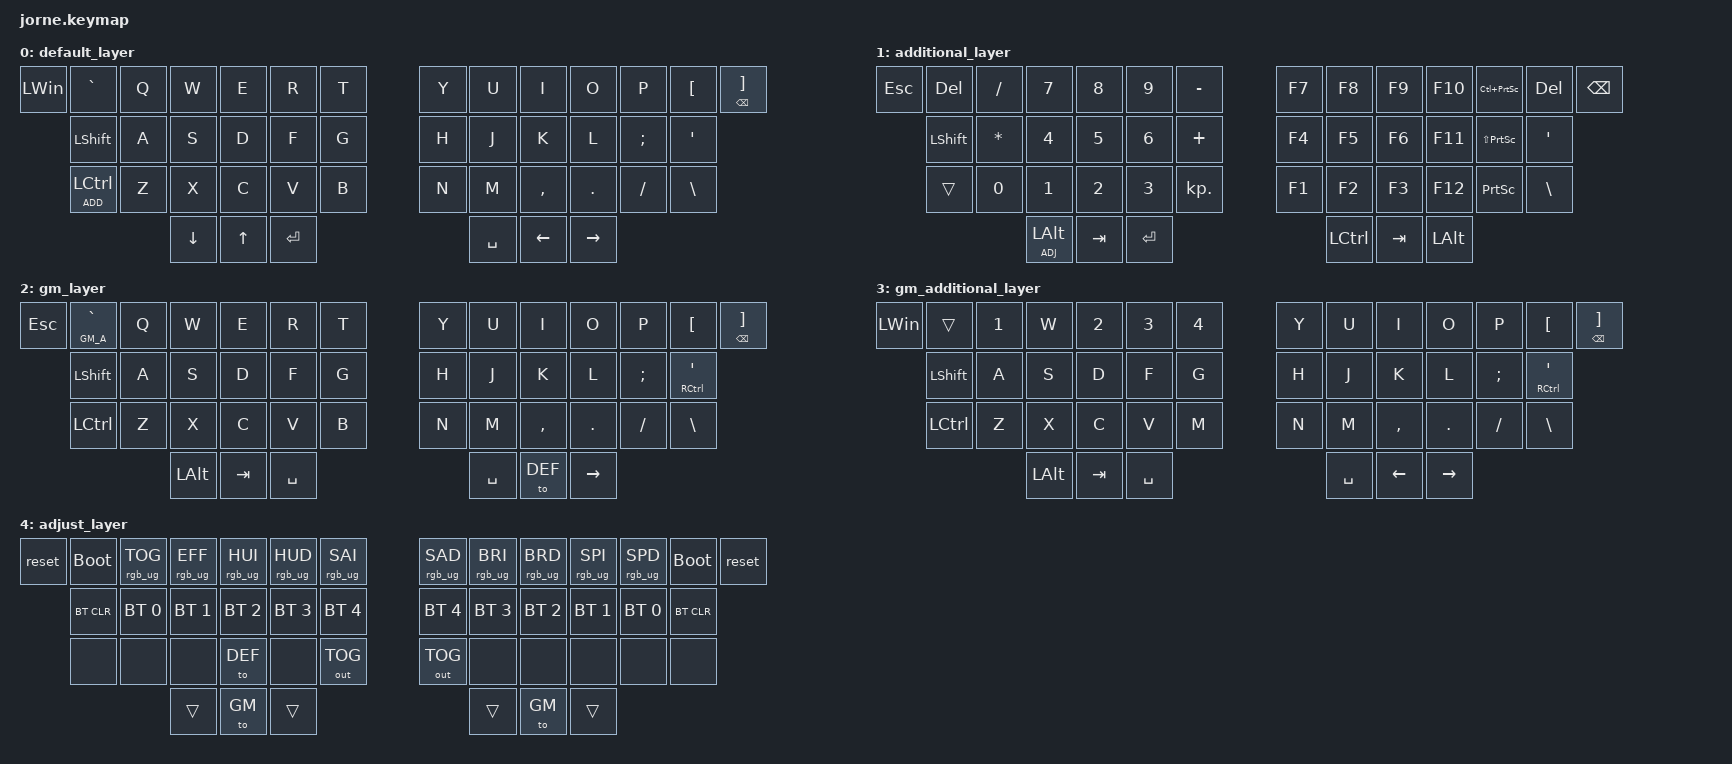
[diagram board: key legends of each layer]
/*
 * Copyright (c) 2020 The ZMK Contributors
 *
 * SPDX-License-Identifier: MIT
 */

#include <behaviors.dtsi>
#include <dt-bindings/zmk/keys.h>
#include <dt-bindings/zmk/bt.h>
#include <dt-bindings/zmk/rgb.h>
#include <dt-bindings/zmk/outputs.h>

#define DEF 0
#define ADD 1
#define GM 2
#define GM_A 3
#define ADJ 4

/ {
        keymap {
                compatible = "zmk,keymap";

                default_layer {
                        bindings = <
   &kp LWIN &kp GRAVE     &kp Q &kp W &kp E &kp R &kp T               &kp Y &kp U  &kp I     &kp O   &kp P    &kp LBKT  &mt BSPC RBKT
            &kp LSHFT     &kp A &kp S &kp D &kp F &kp G               &kp H &kp J  &kp K     &kp L   &kp SEMI &kp SQT
            &lt ADD LCTRL &kp Z &kp X &kp C &kp V &kp B               &kp N &kp M  &kp COMMA &kp DOT &kp FSLH &kp BSLH
                                &kp DOWN &kp UP &kp RET               &kp SPACE &kp LEFT &kp RIGHT
                        >;
                };
                additional_layer {
                        bindings = <
   &kp ESC  &kp DEL    &kp SLASH &kp N7 &kp N8 &kp N9 &kp MINUS               &kp F7 &kp F8  &kp F9 &kp F10 &kp LC(PSCRN) &kp DEL  &kp BSPC
            &kp LSHFT  &kp STAR  &kp N4 &kp N5 &kp N6 &kp PLUS                &kp F4 &kp F5  &kp F6 &kp F11 &kp LS(PSCRN) &kp SQT
            &trans     &kp N0    &kp N1 &kp N2 &kp N3 &kp KP_DOT              &kp F1 &kp F2  &kp F3 &kp F12 &kp PSCRN     &kp BSLH
                                   &lt ADJ LALT &kp TAB &kp RET              &kp LCTRL &kp TAB &kp LALT
                        >;
                };
                gm_layer {
                        bindings = <
   &kp ESC &lt GM_A GRAVE  &kp Q &kp W &kp E &kp R &kp T               &kp Y &kp U  &kp I     &kp O   &kp P    &kp LBKT  &mt BSPC RBKT
            &kp LSHFT      &kp A &kp S &kp D &kp F &kp G               &kp H &kp J  &kp K     &kp L   &kp SEMI &mt RCTRL SQT
            &kp LCTRL      &kp Z &kp X &kp C &kp V &kp B               &kp N &kp M  &kp COMMA &kp DOT &kp FSLH &kp BSLH
                                   &kp LALT &kp TAB &kp SPACE         &kp SPACE &to DEF &kp RIGHT
                        >;
                };
                gm_additional_layer {
                        bindings = <
   &kp LWIN &trans    &kp N1 &kp W &kp N2 &kp N3 &kp N4 &kp Y         &kp U  &kp I     &kp O   &kp P    &kp LBKT  &mt BSPC RBKT
            &kp LSHFT &kp A  &kp S &kp D  &kp F  &kp G  &kp H         &kp J  &kp K     &kp L   &kp SEMI &mt RCTRL SQT
            &kp LCTRL &kp Z  &kp X &kp C  &kp V  &kp M  &kp N         &kp M  &kp COMMA &kp DOT &kp FSLH &kp BSLH
                                    &kp LALT &kp TAB &kp SPACE      &kp SPACE &kp LEFT &kp RIGHT
                        >;
                };
                adjust_layer {
                        bindings = <
   &reset &bootloader  &rgb_ug RGB_TOG  &rgb_ug RGB_EFF &rgb_ug RGB_HUI   &rgb_ug RGB_HUD  &rgb_ug RGB_SAI         &rgb_ug RGB_SAD  &rgb_ug RGB_BRI  &rgb_ug RGB_BRD   &rgb_ug RGB_SPI   &rgb_ug RGB_SPD  &bootloader &reset
          &bt BT_CLR   &bt BT_SEL 0     &bt BT_SEL 1    &bt BT_SEL 2      &bt BT_SEL 3     &bt BT_SEL 4            &bt BT_SEL 4     &bt BT_SEL 3     &bt BT_SEL 2      &bt BT_SEL 1      &bt BT_SEL 0     &bt BT_CLR
          &none        &none             &none          &to DEF             &none          &out OUT_TOG            &out OUT_TOG     &none           &none             &none             &none            &none
                                                        &trans            &to GM         &trans             &trans           &to GM     &trans
                        >;
                };
        };
};
